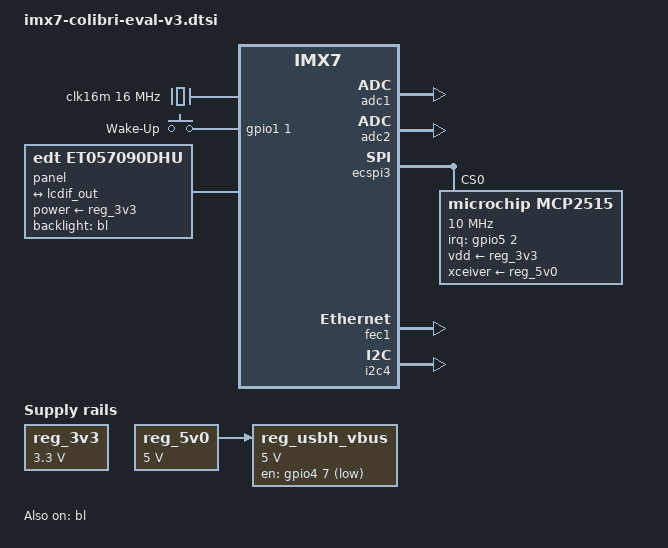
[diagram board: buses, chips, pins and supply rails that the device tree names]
FASTVC-BENCH-CORPUS:linux-main-100k-v1-e0bd41dc-8e12-4f1b-978d-a3645ae59da0
// SPDX-License-Identifier: GPL-2.0+ OR MIT
/*
 * Copyright 2016-2020 Toradex
 */

/ {
	aliases {
		rtc0 = &rtc;
		rtc1 = &snvs_rtc;
	};

	chosen {
		stdout-path = "serial0:115200n8";
	};

	/* fixed crystal dedicated to mpc258x */
	clk16m: clk16m {
		compatible = "fixed-clock";
		#clock-cells = <0>;
		clock-frequency = <16000000>;
	};

	gpio-keys {
		compatible = "gpio-keys";
		pinctrl-names = "default";
		pinctrl-0 = <&pinctrl_gpiokeys>;

		power {
			label = "Wake-Up";
			gpios = <&gpio1 1 GPIO_ACTIVE_HIGH>;
			linux,code = <KEY_WAKEUP>;
			debounce-interval = <10>;
			wakeup-source;
		};
	};

	panel: panel {
		compatible = "edt,et057090dhu";
		backlight = <&bl>;
		power-supply = <&reg_3v3>;

		port {
			panel_in: endpoint {
				remote-endpoint = <&lcdif_out>;
			};
		};
	};

	reg_3v3: regulator-3v3 {
		compatible = "regulator-fixed";
		regulator-name = "3.3V";
		regulator-min-microvolt = <3300000>;
		regulator-max-microvolt = <3300000>;
	};

	reg_5v0: regulator-5v0 {
		compatible = "regulator-fixed";
		regulator-name = "5V";
		regulator-min-microvolt = <5000000>;
		regulator-max-microvolt = <5000000>;
	};

	reg_usbh_vbus: regulator-usbh-vbus {
		compatible = "regulator-fixed";
		pinctrl-names = "default";
		pinctrl-0 = <&pinctrl_usbh_reg>;
		regulator-name = "VCC_USB[1-4]";
		regulator-min-microvolt = <5000000>;
		regulator-max-microvolt = <5000000>;
		gpio = <&gpio4 7 GPIO_ACTIVE_LOW>;
		vin-supply = <&reg_5v0>;
	};
};

&bl {
	brightness-levels = <0 4 8 16 32 64 128 255>;
	default-brightness-level = <6>;
	power-supply = <&reg_3v3>;

	status = "okay";
};

&adc1 {
	status = "okay";
};

&adc2 {
	status = "okay";
};

&ecspi3 {
	status = "okay";

	mcp2515: can@0 {
		compatible = "microchip,mcp2515";
		pinctrl-names = "default";
		pinctrl-0 = <&pinctrl_can_int>;
		reg = <0>;
		clocks = <&clk16m>;
		interrupt-parent = <&gpio5>;
		interrupts = <2 IRQ_TYPE_EDGE_FALLING>;
		spi-max-frequency = <10000000>;
		vdd-supply = <&reg_3v3>;
		xceiver-supply = <&reg_5v0>;
		status = "okay";
	};
};

&fec1 {
	status = "okay";
};

&i2c4 {
	status = "okay";

	/*
	 * Touchscreen is using SODIMM 28/30, also used for PWM<B>, PWM<C>,
	 * aka pwm2, pwm3. so if you enable touchscreen, disable the pwms
	 */
	touchscreen@4a {
		compatible = "atmel,maxtouch";
		pinctrl-names = "default";
		pinctrl-0 = <&pinctrl_gpiotouch>;
		reg = <0x4a>;
		interrupt-parent = <&gpio1>;
		interrupts = <9 IRQ_TYPE_EDGE_FALLING>;		/* SODIMM 28 */
		reset-gpios = <&gpio1 10 GPIO_ACTIVE_LOW>;	/* SODIMM 30 */
		status = "disabled";
/* bench 24496.0.0 be1d3cd1ce79 */
/* bench 24496.0.1 af0b6ff24569 */
/* bench 24496.0.2 a53fcd566237 */
/* bench 24496.0.3 9dc4b4a2d639 */
/* bench 24496.0.4 4aeffd2401ea */
/* bench 24496.0.5 96220c02226c */
/* bench 24496.0.6 1cf75c748fab */
/* bench 24496.0.7 329ad8575617 */
/* bench 24496.0.8 38d4f02469c1 */
	/* M41T0M6 real time clock on carrier board */
	rtc: m41t0m6@68 {
		compatible = "st,m41t0";
		reg = <0x68>;
	};
};

&lcdif {
	status = "okay";

	port {
		lcdif_out: endpoint {
			remote-endpoint = <&panel_in>;
		};
	};
};

&pwm1 {
	status = "okay";
};

&pwm2 {
	status = "okay";
};

&pwm3 {
	status = "okay";
};

&pwm4 {
	status = "okay";
};

&uart1 {
	status = "okay";
};

&uart2 {
	status = "okay";
};

&uart3 {
	status = "okay";
};

&usbotg1 {
	status = "okay";
};

&usdhc1 {
	keep-power-in-suspend;
	wakeup-source;
	vmmc-supply = <&reg_3v3>;
	status = "okay";
};

&iomuxc {
	pinctrl_gpiotouch: touchgpios {
		fsl,pins = <
			MX7D_PAD_GPIO1_IO09__GPIO1_IO9		0x74
			MX7D_PAD_GPIO1_IO10__GPIO1_IO10		0x14
		>;
	};
};
